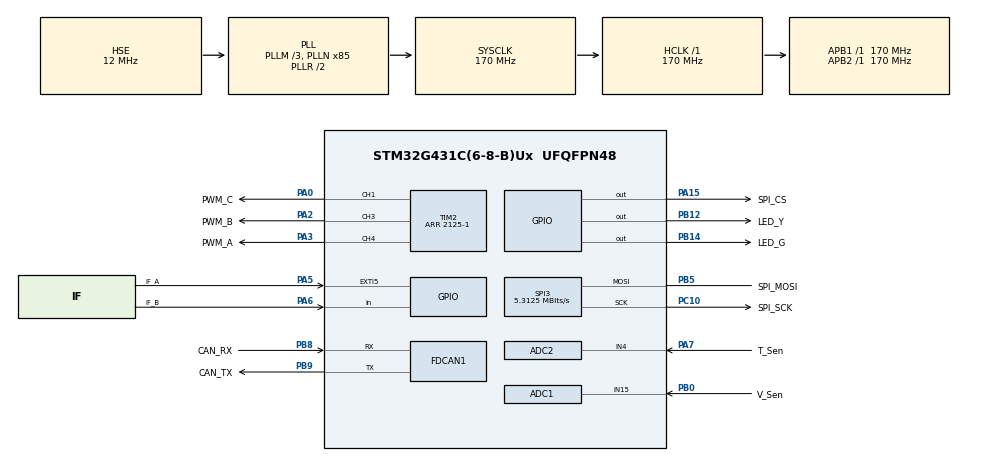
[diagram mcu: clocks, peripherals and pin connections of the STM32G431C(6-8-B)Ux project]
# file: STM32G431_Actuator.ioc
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ADC1.Channel-3\#ChannelRegularConversion=ADC_CHANNEL_15
ADC1.EOCSelection=ADC_EOC_SEQ_CONV
ADC1.Mode=ADC_DUALMODE_REGSIMULT
ADC1.NbrOfConversionFlag=1
ADC1.master=1
ADC2.Channel-5\#ChannelRegularConversion=ADC_CHANNEL_4
ADC2.Mode=ADC_DUALMODE_REGSIMULT
ADC2.NbrOfConversionFlag=1
ADC2.OffsetNumber-5\#ChannelRegularConversion=ADC_OFFSET_NONE
ADC2.Rank-5\#ChannelRegularConversion=1
ADC2.SamplingTime-5\#ChannelRegularConversion=ADC_SAMPLETIME_2CYCLES_5
Mcu.Family=STM32G4
Mcu.Name=STM32G431C(6-8-B)Ux
Mcu.Package=UFQFPN48
NVIC.EXTI9_5_IRQn=true\:0\:0\:true\:false\:true\:true\:true
NVIC.FDCAN1_IT0_IRQn=true\:3\:0\:true\:false\:true\:true\:true
NVIC.PriorityGroup=NVIC_PRIORITYGROUP_4
NVIC.TIM3_IRQn=true\:0\:0\:false\:false\:true\:true\:true
PA0.GPIO_Label=PWM_C
PA0.Signal=S_TIM2_CH1
PA13.Mode=Trace_Asynchronous_SW
PA13.Signal=SYS_JTMS-SWDIO
PA14.Mode=Trace_Asynchronous_SW
PA14.Signal=SYS_JTCK-SWCLK
PA15.GPIO_Label=SPI_CS
PA15.GPIO_PuPd=GPIO_NOPULL
PA15.GPIO_Speed=GPIO_SPEED_FREQ_HIGH
PA15.Signal=GPIO_Output
PA2.GPIO_Label=PWM_B
PA2.Signal=S_TIM2_CH3
PA3.GPIO_Label=PWM_A
PA3.Signal=S_TIM2_CH4
PA5.GPIO_Label=IF_A
PA5.Signal=GPXTI5
PA6.GPIO_Label=IF_B
PA6.Signal=GPIO_Input
PA7.GPIO_Label=T_Sen
PA7.Mode=IN4-Single-Ended
PA7.Signal=ADC2_IN4
PB0.GPIO_Label=V_Sen
PB0.GPIO_Mode=GPIO_MODE_ANALOG
PB0.GPIO_PuPd=GPIO_NOPULL
PB0.Mode=IN15-Single-Ended
PB0.Signal=ADC1_IN15
PB1.GPIO_Label=SO_A
PB1.Signal=ADC1_IN12
PB12.GPIO_Label=LED_Y
PB12.Signal=GPIO_Output
PB14.GPIO_Label=LED_G
PB14.Signal=GPIO_Output
PB2.GPIO_Label=SO_B
PB2.Signal=ADC2_IN12
PB3.Mode=Trace_Asynchronous_SW
PB3.Signal=SYS_JTDO-SWO
PB5.GPIO_Label=SPI_MOSI
PB5.Mode=Simplex_Bidirectional_Master
PB5.Signal=SPI3_MOSI
PB8-BOOT0.GPIO_Label=CAN_RX
PB8-BOOT0.Mode=FDCAN_Activate
PB8-BOOT0.Signal=FDCAN1_RX
PB9.GPIO_Label=CAN_TX
PB9.Mode=FDCAN_Activate
PB9.Signal=FDCAN1_TX
PC10.GPIO_Label=SPI_SCK
PC10.Mode=Simplex_Bidirectional_Master
PC10.Signal=SPI3_SCK
PF0-OSC_IN.GPIO_Label=XTAL_1
PF0-OSC_IN.Mode=HSE-External-Oscillator
PF0-OSC_IN.Signal=RCC_OSC_IN
PF1-OSC_OUT.GPIO_Label=XTAL_2
PF1-OSC_OUT.Mode=HSE-External-Oscillator
PF1-OSC_OUT.Signal=RCC_OSC_OUT
ProjectManager.HeapSize=0x200
ProjectManager.StackSize=0x400
ProjectManager.TargetToolchain=STM32CubeIDE
RCC.ADC12Freq_Value=170000000
RCC.AHBFreq_Value=170000000
RCC.APB1Freq_Value=170000000
RCC.APB1TimFreq_Value=170000000
RCC.APB2Freq_Value=170000000
RCC.APB2TimFreq_Value=170000000
RCC.CortexFreq_Value=170000000
RCC.EXTERNAL_CLOCK_VALUE=12288000
RCC.HCLKFreq_Value=170000000
RCC.HSE_VALUE=12000000
RCC.HSI48_VALUE=48000000
RCC.HSI_VALUE=16000000
RCC.LSE_VALUE=32768
RCC.PLLM=RCC_PLLM_DIV3
RCC.PLLN=85
RCC.PLLSourceVirtual=RCC_PLLSOURCE_HSE
RCC.SYSCLKFreq_VALUE=170000000
RCC.SYSCLKSource=RCC_SYSCLKSOURCE_PLLCLK
RCC.USBFreq_Value=170000000
RCC.VCOOutputFreq_Value=340000000
SH.S_TIM2_CH1.0=TIM2_CH1,PWM Generation1 CH1
SH.S_TIM2_CH3.0=TIM2_CH3,PWM Generation3 CH3
SH.S_TIM2_CH4.0=TIM2_CH4,PWM Generation4 CH4
SPI3.BaudRatePrescaler=SPI_BAUDRATEPRESCALER_32
SPI3.CLKPhase=SPI_PHASE_2EDGE
SPI3.CalculateBaudRate=5.3125 MBits/s
SPI3.DataSize=SPI_DATASIZE_8BIT
SPI3.Direction=SPI_DIRECTION_1LINE
SPI3.Mode=SPI_MODE_MASTER
SPI3.VirtualType=VM_MASTER
TIM2.AutoReloadPreload=TIM_AUTORELOAD_PRELOAD_ENABLE
TIM2.Channel-PWM\ Generation1\ CH1=TIM_CHANNEL_1
TIM2.Channel-PWM\ Generation3\ CH3=TIM_CHANNEL_3
TIM2.Channel-PWM\ Generation4\ CH4=TIM_CHANNEL_4
TIM2.CounterMode=TIM_COUNTERMODE_CENTERALIGNED1
TIM2.OCMode_PWM-PWM\ Generation1\ CH1=TIM_OCMODE_PWM2
TIM2.OCMode_PWM-PWM\ Generation3\ CH3=TIM_OCMODE_PWM2
TIM2.OCMode_PWM-PWM\ Generation4\ CH4=TIM_OCMODE_PWM2
TIM2.OCPolarity_1=TIM_OCPOLARITY_HIGH
TIM2.OCPolarity_3=TIM_OCPOLARITY_HIGH
TIM2.OCPolarity_4=TIM_OCPOLARITY_HIGH
TIM2.PeriodNoDither=2125-1
TIM2.TIM_MasterOutputTrigger=TIM_TRGO_ENABLE
TIM2.TIM_MasterSlaveMode=TIM_MASTERSLAVEMODE_ENABLE
TIM3.PeriodNoDither=16991
VP_SYS_VS_DBSignals.Mode=DisableDeadBatterySignals
VP_TIM2_VS_ClockSourceINT.Mode=Internal
VP_TIM3_VS_ClockSourceINT.Mode=Internal
board=custom

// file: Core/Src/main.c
/* USER CODE BEGIN Header */
/**
  ******************************************************************************
  * @file           : main.c
  * @brief          : Main program body
  ******************************************************************************
  * @attention
  *
  * Copyright (c) 2022 STMicroelectronics.
  * All rights reserved.
  *
  * This software is licensed under terms that can be found in the LICENSE file
  * in the root directory of this software component.
  * If no LICENSE file comes with this software, it is provided AS-IS.
  *
  ******************************************************************************
  */
/* USER CODE END Header */
#include "main.h"
#include "adc.h"
#include "fdcan.h"
#include "spi.h"
#include "tim.h"
#include "gpio.h"

/* USER CODE BEGIN Includes */
#include "stdio.h"
#include <stdint.h>
#include <math.h>
#include "sin_lookup.h"
#include "stm32g4xx_it.h"
/* USER CODE END Includes */

/* USER CODE BEGIN PD */

// Code
#define REV 1		// code revision
#define PRINT 1		// want prints?

// Phase Mappings
#define Phase_A_Ch TIM_CHANNEL_4
#define Phase_B_Ch TIM_CHANNEL_3
#define Phase_C_Ch TIM_CHANNEL_1

// CAN ID (actuator)
#define CAN_TX_ID 2		// Transmits as this ID
#define CAN_RX_ID 1		// Receives messages from this ID

// Res Div.:	V_o = V_in * R_Bot / (R_Top + B_Bot)
#define R_Top 255.0f		// R divider - top resistor			/ KOhms
#define R_Bot 10.0f			// R divider - bottom resistor		/ KOhms

// LM60: V_o = (6.25mV * T/C) + 424mV
#define T_Slope  0.00625f	// T sensor  - slope	/V
#define T_Offset 0.424f		// T sensor  - offset	/v

// Op Amp
#define R_Shunt   0.001f    // Shunt resistor /ohms
#define OP_Gain   40.0f		// Opamp gain
#define OP_Offset 40.0f		// Opamp offset

// Macros
#define BYTE_TO_BINARY(byte)  \
  (byte & 0x80 ? '1' : '0'), \
  (byte & 0x40 ? '1' : '0'), \
  (byte & 0x20 ? '1' : '0'), \
  (byte & 0x10 ? '1' : '0'), \
  (byte & 0x08 ? '1' : '0'), \
  (byte & 0x04 ? '1' : '0'), \
  (byte & 0x02 ? '1' : '0'), \
  (byte & 0x01 ? '1' : '0')

/* USER CODE END PD */

/* USER CODE BEGIN PV */

// Encoder
typedef struct
{
	float SPI_theta;			// IIF from SPI 0-360deg used to zero

	int16_t  IIF_Counter;		// The counter variable that is interrupt driven so dont use it in calculations
	int64_t  IIF_Revolutions;	// Number of full revolutions taken
	uint16_t IIF_Raw;			// Current angle 0-4095
} ENC_Struct;
// ADC
typedef struct
{
	uint16_t ADC1_DMA_Buff[2];		// DMA buffer for ADC 1
	uint16_t ADC2_DMA_Buff[2];		// DMA buffer for ADC 2

	float V_Bus;	// V bus
	float Temp_C;	// Temp in C

	uint16_t i_a_Raw, i_b_Raw, V_Raw, T_Raw;	// Raw ADC readings
	uint16_t i_a_Fil, i_b_Fil, V_Fil, T_Fil;	// Filtered ADC readings
} ADC_Struct;
// FOC
typedef struct
{
	// Proprties
	int Pole_Pairs;				// number of pole pairs
	float dt;					// delta T of FOC response		/seconds

	// Angles
	float m_theta, m_dtheta;	// mechanical theta and dtheta	/deg		/degs-1
	float e_theta, e_dtheta;	// electrical theta and dtheta	/deg		/degs-1

	// FOC currents
	float i_a, i_b, i_c;		// Phase currents				/amps
	float i_alph, i_beta;		// Alpha/Beta currents			/amps
	float i_d, i_q;				// Direct/Quadrature currents	/amps

	// Current target
	float DC_I;					// 0 to 1 of the duty cycle controlling current

	// FOC sector control
	float alpha;				// Angle from start of sector to current position
	int sector;					// which sector currently in

	// Duty cycles
	float DC_1, DC_2, DC_0;		// Duty cycle of vector start, end and unforced

	uint16_t PWM_Reg_Max;		// PWM register max
	float PWM_A, PWM_C, PWM_B;	// Duty cycle
} FOC_Struct;
// Filter
typedef struct
{
	// Butterworth from: https://www.meme.net.au/butterworth.html
	// At 6.667KHz smapling
	// y(i) = k1*x(i) + k1*x(i-1) + k2*y(i-1)

	// Filters i_a, i_b, PVDD, Temp, IIF count, IIF vel

	float i_k[2];		// Filter coefficients for current filters
	float Misc_k[2];	// Filter coefficients for misc filter

	int16_t i_a_Pre, i_a_Pre_Fil, i_b_Pre, i_b_Pre_Fil;			// Previous values for current
	int16_t PVDD_Pre, PVDD_Pre_Fil, Temp_Pre, Temp_Pre_Fil;		// Previous values for PVDD and temp
} FIL_Struct;
// CAN
typedef struct
{
	uint32_t timeout;		// timeout/ms

	FDCAN_RxHeaderTypeDef rx_header;
	uint8_t rx_data[6];

	FDCAN_TxHeaderTypeDef tx_header;
	uint8_t tx_data[6];

	FDCAN_FilterTypeDef filter;
} CAN_Struct;
// Controller
typedef struct
{
	float Torque;
	float Velocity;
} CON_Struct;

ENC_Struct enc;
ADC_Struct adc;
FOC_Struct foc;
FIL_Struct fil;
CAN_Struct can;
CON_Struct con;

/* USER CODE END PV */

void SystemClock_Config(void);

/* USER CODE BEGIN 0 */

// For SWD debug port 0 printf()
int _write(int file, char *ptr, int len)
{
	int i=0;
	for(i=0; i<len; i++)
		ITM_SendChar((*ptr++));
	return len;
}

/* USER CODE END 0 */

int main(void)
{

  /* MCU Configuration--------------------------------------------------------*/

  /* Reset of all peripherals, Initializes the Flash interface and the Systick. */
  HAL_Init();

  /* Configure the system clock */
  SystemClock_Config();

  /* Initialize all configured peripherals */
  MX_GPIO_Init();
  MX_ADC1_Init();
  MX_FDCAN1_Init();
  MX_TIM2_Init();
  MX_SPI3_Init();
  MX_TIM3_Init();
  MX_ADC2_Init();
  /* USER CODE BEGIN 2 */
  printf("\nActuator Firmware Version: %i\n",REV);

  /* Start ADCs */
  printf("Start ADC... ");
  HAL_ADCEx_Calibration_Start(&hadc1,LL_ADC_SINGLE_ENDED);
  HAL_ADCEx_Calibration_Start(&hadc2,LL_ADC_SINGLE_ENDED);

  HAL_ADC_Start(&hadc1);
  HAL_ADC_Start(&hadc2);
//  HAL_ADC_Start_DMA(&hadc1, (uint32_t*)adc.ADC1_DMA_Buff, 2);
//  HAL_ADC_Start_DMA(&hadc2, (uint32_t*)adc.ADC2_DMA_Buff, 2);

  printf("Good\n");

  /* Start Timers */
  printf("Start TIM... ");
  HAL_TIM_Base_Start(&htim2);
  while(__HAL_TIM_GET_COUNTER(&htim2)<858+20){}	// wait for cycles to sync up clocks
  	  	  	  	  	  	  	  	  	  	  	  	// 858 cycles for middle
  	  	  	  	  	  	  	  	  	  	  	    // each cycle delays by around 7.5ns
  HAL_TIM_Base_Start_IT(&htim3);
  HAL_TIM_PWM_Start(&htim2, Phase_A_Ch);
  HAL_TIM_PWM_Start(&htim2, Phase_B_Ch);
  HAL_TIM_PWM_Start(&htim2, Phase_C_Ch);
  Set_PWM3(0,0,0);							// Set PWM channels to same value
  printf("Good\n");

  /* Start Encoder */
  printf("Start ENC... ");
  HAL_GPIO_WritePin(SPI_CS_GPIO_Port, SPI_CS_Pin, 1);

  // command is
  // 15 	- 0 write/1 read
  // 14-11	- lock				0000 default	1010 for 0x05h-0x11h
  // 10		- 0 access to current values/1 access all in buffer
  // 9-4	- 6 bit address
  // 3-0	- 4 bit number of data words	if 0000, no safety word

  // 		command1, 	command2,   data1,	    data2,      mask1,      mask2
  printf("\n");
//  ENC_Write(0b11010000, 0b01100001, 0b01000000, 0b00000001, 0b11000000, 0b00010111);		// write MOD_1	06 register		A/B
  ENC_Write(0b11010000, 0b01100001, 0b01000000, 0b00000010, 0b11000000, 0b00010111);		// write MOD_1	06 register		step/dir
  ENC_Write(0b11010000, 0b10000001, 0b00001000, 0b00000001, 0b01111111, 0b11111111);		// write MOD_2	08 register
  ENC_Write(0b11010000, 0b10010001, 0b00000000, 0b00000000, 0b11111111, 0b11111111);		// write MOD_3  09 register
  ENC_Write(0b11010000, 0b11010001, 0b00000000, 0b00001001, 0b11111111, 0b11111111);		// write IFAB	0D register	(13)
  ENC_Write(0b11010000, 0b11100001, 0b00000000, 0b10000000, 0b00000001, 0b11111011);		// write MOD_4	0E register (14)

  ENC_Read_Ang(&enc.SPI_theta);
  enc.IIF_Counter = (int)(enc.SPI_theta /360.0f * 4095.0f);	// Zero encoder

  /* Start CAN */
  printf("Start CAN... ");
  // can code
  printf("Good\n");

  /* Setup FOC structure*/
  foc.Pole_Pairs = 21.0f;
  foc.dt = (float)(2.0f/(170.0f*1000000.0f/(htim2.Init.Period+1)/(htim2.Init.RepetitionCounter+1)));
  foc.PWM_Reg_Max = htim2.Init.Period;

  /* Setup Filter structure */
  fil.i_k[0]    = 0.421f;	fil.i_k[1]    = 0.158f;
  fil.Misc_k[0] = 0.421f;	fil.Misc_k[1] = 0.158f;

  printf("\nSetup complete!\n\n");

  /* USER CODE END 2 */

  /* Infinite loop */
  /* USER CODE BEGIN WHILE */
  while (1)
  {
	  HAL_GPIO_WritePin(LED_G_GPIO_Port, LED_G_Pin, 1);

	  HAL_ADC_Start(&hadc1);
	  HAL_ADC_Start(&hadc2);

	  HAL_ADC_PollForConversion(&hadc1, 1);

	  adc.V_Raw = HAL_ADC_GetValue(&hadc1);
	  adc.T_Raw = HAL_ADC_GetValue(&hadc2);

	  ADC_Norm_Misc(adc.V_Raw, adc.T_Raw, &adc.V_Bus, &adc.Temp_C);

	  printf("ADC1: %i\tADC2: %i\n", adc.V_Raw, adc.T_Raw);

	  HAL_Delay(200);
	  HAL_GPIO_WritePin(LED_G_GPIO_Port, LED_G_Pin, 0);
	  HAL_Delay(800);

    /* USER CODE END WHILE */

  }
}

void SystemClock_Config(void)
{
  RCC_OscInitTypeDef RCC_OscInitStruct = {0};
  RCC_ClkInitTypeDef RCC_ClkInitStruct = {0};

  /** Configure the main internal regulator output voltage
  */
  HAL_PWREx_ControlVoltageScaling(PWR_REGULATOR_VOLTAGE_SCALE1_BOOST);
  /** Initializes the RCC Oscillators according to the specified parameters
  * in the RCC_OscInitTypeDef structure.
  */
  RCC_OscInitStruct.OscillatorType = RCC_OSCILLATORTYPE_HSE;
  RCC_OscInitStruct.HSEState = RCC_HSE_ON;
  RCC_OscInitStruct.PLL.PLLState = RCC_PLL_ON;
  RCC_OscInitStruct.PLL.PLLSource = RCC_PLLSOURCE_HSE;
  RCC_OscInitStruct.PLL.PLLM = RCC_PLLM_DIV3;
  RCC_OscInitStruct.PLL.PLLN = 85;
  RCC_OscInitStruct.PLL.PLLP = RCC_PLLP_DIV2;
  RCC_OscInitStruct.PLL.PLLQ = RCC_PLLQ_DIV2;
  RCC_OscInitStruct.PLL.PLLR = RCC_PLLR_DIV2;
  if (HAL_RCC_OscConfig(&RCC_OscInitStruct) != HAL_OK)
  {
    Error_Handler();
  }
  /** Initializes the CPU, AHB and APB buses clocks
  */
  RCC_ClkInitStruct.ClockType = RCC_CLOCKTYPE_HCLK|RCC_CLOCKTYPE_SYSCLK
                              |RCC_CLOCKTYPE_PCLK1|RCC_CLOCKTYPE_PCLK2;
  RCC_ClkInitStruct.SYSCLKSource = RCC_SYSCLKSOURCE_PLLCLK;
  RCC_ClkInitStruct.AHBCLKDivider = RCC_SYSCLK_DIV1;
  RCC_ClkInitStruct.APB1CLKDivider = RCC_HCLK_DIV1;
  RCC_ClkInitStruct.APB2CLKDivider = RCC_HCLK_DIV1;

  if (HAL_RCC_ClockConfig(&RCC_ClkInitStruct, FLASH_LATENCY_4) != HAL_OK)
  {
    Error_Handler();
  }
}

/* USER CODE BEGIN 4 */

// Read ADCs
void  ADC_Get_Raw    (int16_t*i_a_Raw, int16_t*i_b_Raw, int16_t*PVDD_Raw, int16_t*Temp_Raw)
{
//	HAL_ADC_Start_DMA(&hadc1, (uint32_t*)adc.ADC1_DMA_Buff, 2);
//	HAL_ADC_Start_DMA(&hadc2, (uint32_t*)adc.ADC2_DMA_Buff, 2);
//
////	while(adc.ADC1_CC==0 || adc.ADC2_CC==0){}	// wait for conversion to complete
//	adc.ADC1_CC=0;									// reset flags
//	adc.ADC2_CC=0;
//
//	*i_a_Raw	= adc.ADC1_DMA_Buff[0];
//	*i_b_Raw	= adc.ADC2_DMA_Buff[0];
//	*PVDD_Raw	= adc.ADC1_DMA_Buff[1];
//	*Temp_Raw	= adc.ADC2_DMA_Buff[1];
}
void  ADC_Filter_Curr(int16_t i_a_Raw, int16_t i_b_Raw, int16_t*i_a_Fil, int16_t*i_b_Fil)
{
	// Filter
	*i_a_Fil = fil.i_k[0]*i_a_Raw + fil.i_k[0]*fil.i_a_Pre + fil.i_k[1]*fil.i_a_Pre_Fil;
	*i_b_Fil = fil.i_k[0]*i_b_Raw + fil.i_k[0]*fil.i_b_Pre + fil.i_k[1]*fil.i_b_Pre_Fil;

	// Now store current values as previous values
	fil.i_a_Pre = i_a_Raw;
	fil.i_b_Pre = i_b_Raw;

	fil.i_a_Pre_Fil = *i_a_Fil;
	fil.i_b_Pre_Fil = *i_b_Fil;
}
void  ADC_Norm_Curr  (int16_t i_a_Fil, int16_t i_b_Fil, float*i_a, float*i_b)
{
	*i_a = (((float)(i_a_Fil-OP_Offset))*3.3f/4095.0f)/OP_Gain/R_Shunt;
	*i_b = (((float)(i_b_Fil-OP_Offset))*3.3f/4095.0f)/OP_Gain/R_Shunt;
}
void  ADC_Filter_Misc(uint16_t PVDD_Raw, uint16_t Temp_Raw, uint16_t*PVDD_Fil, uint16_t*Temp_Fil)
{
	// Filter
	*PVDD_Fil = fil.Misc_k[0]*PVDD_Raw + fil.Misc_k[0]*fil.PVDD_Pre + fil.Misc_k[1]*fil.PVDD_Pre_Fil;
	*Temp_Fil = fil.Misc_k[0]*Temp_Raw + fil.Misc_k[0]*fil.Temp_Pre + fil.Misc_k[1]*fil.Temp_Pre_Fil;

	// Now store current values as previous values
	fil.PVDD_Pre = PVDD_Raw;
	fil.Temp_Pre = Temp_Raw;

	fil.PVDD_Pre_Fil = *PVDD_Fil;
	fil.Temp_Pre_Fil = *Temp_Fil;
}
void  ADC_Norm_Misc  (uint16_t PVDD_Fil, uint16_t Temp_Fil, float*PVDD, float*Temp)
{
	*PVDD = (float)PVDD_Fil*3.3f/4095.0f / R_Bot * (R_Bot + R_Top);
	*Temp = (((float)Temp_Fil*3.3f/4095.0f)-T_Offset)/T_Slope;
}
// Encoder
void  ENC_Read_Ang(float*Angle)
{
	uint8_t ENC_ASK_POS   [2] = {0b10000000,0b00100001};	// Command for asking position
	uint8_t SPI_BUFF[2] = {0,0};

	HAL_GPIO_WritePin(SPI_CS_GPIO_Port, SPI_CS_Pin, 0);
	HAL_SPI_Transmit(&hspi3, (uint8_t*)&ENC_ASK_POS, 2, 10);	// Ask for data
	HAL_SPI_Receive (&hspi3, (uint8_t*)SPI_BUFF    , 2, 10);	// Receive 4 bytes of data
	HAL_GPIO_WritePin(SPI_CS_GPIO_Port, SPI_CS_Pin, 1);

	int16_t SPI_ANG = (SPI_BUFF[0] << 8 | SPI_BUFF[1]);			// make 16 bit
	int16_t ANG_VAL = (0b0011111111111111 & SPI_ANG);					// keep last 14 bits
	ANG_VAL -= (((SPI_ANG)&(1UL<<(14)))>>(14))*(-16384);
	*Angle = 360.0f/32768.0f * ANG_VAL;
}
void  ENC_Read_Vel(float*Velocity)
{
	uint8_t ENC_ASK_VEL   [2] = {0b10000000,0b00110000};	// Command for asking velocity
	uint8_t SPI_BUFF[2] = {0,0};

	HAL_GPIO_WritePin(SPI_CS_GPIO_Port, SPI_CS_Pin, 0);
	HAL_SPI_Transmit(&hspi3, (uint8_t*)&ENC_ASK_VEL, 2, 10);	// Ask for data
	HAL_SPI_Receive (&hspi3, (uint8_t*)SPI_BUFF    , 2, 10);	// Receive 2 bytes of data
	HAL_GPIO_WritePin(SPI_CS_GPIO_Port, SPI_CS_Pin, 1);

	int16_t SPI_VEL = (SPI_BUFF[0] << 8 | SPI_BUFF[1]);			// make 16 bit
	int16_t VEL_VAL = (0b0011111111111111 & SPI_VEL);			// keep last 14 bits
	*Velocity = 360.0f/32768.0f * VEL_VAL / 2.0f / 0.0000427f;
}
void  ENC_Write(uint8_t com1, uint8_t com2, uint8_t data1, uint8_t data2, uint8_t mask1, uint8_t mask2)
{
	uint8_t ADDR = (com2>>4)&0b00001111;
	printf("\tRegister 0x%02X... ",ADDR);

	// read
	uint8_t ENC_R_COM [2] = {com1|0b1000000,								// make into read command
							 com2};
	uint8_t SPI_BUFF[2] = {0,0};

//	printf("\n");
//	printf("\t\tTX: %c%c%c%c %c%c%c%c   %c%c%c%c %c%c%c%c\n", BYTE_TO_BINARY(ENC_R_COM[0]), BYTE_TO_BINARY(ENC_R_COM[1]));
	HAL_GPIO_WritePin(SPI_CS_GPIO_Port, SPI_CS_Pin, 0);
	HAL_SPI_Transmit(&hspi3, (uint8_t*)&ENC_R_COM, 2, 10);		// Read current register
	HAL_SPI_Receive (&hspi3, (uint8_t*)SPI_BUFF, 2, 10);
	HAL_GPIO_WritePin(SPI_CS_GPIO_Port, SPI_CS_Pin, 1);
//	printf("\t\tRead  : %c%c%c%c %c%c%c%c   %c%c%c%c %c%c%c%c\n", BYTE_TO_BINARY(SPI_BUFF[0]), BYTE_TO_BINARY(SPI_BUFF[1]));

	// write
	uint8_t ENC_W_EOM [4] = {com1&0b01111111,								// make into write command
						     com2,											// same
							 (SPI_BUFF[0] & (~mask1)) | (data1 & mask1),	// keep read when mask=0, keep data when mask=1
							 (SPI_BUFF[1] & (~mask2)) | (data2 & mask2)};	// keep read when mask=0, keep data when mask=1

//	printf("\t\tTX    : %c%c%c%c %c%c%c%c   %c%c%c%c %c%c%c%c   %c%c%c%c %c%c%c%c   %c%c%c%c %c%c%c%c\n", BYTE_TO_BINARY(ENC_W_EOM[0]), BYTE_TO_BINARY(ENC_W_EOM[1]), BYTE_TO_BINARY(ENC_W_EOM[2]), BYTE_TO_BINARY(ENC_W_EOM[3]));
	HAL_GPIO_WritePin(SPI_CS_GPIO_Port, SPI_CS_Pin, 0);
	HAL_SPI_Transmit(&hspi3, (uint8_t*)&ENC_W_EOM, 4, 10);		// Write to register
	HAL_SPI_Receive (&hspi3, (uint8_t*)SPI_BUFF, 2, 10);
	HAL_GPIO_WritePin(SPI_CS_GPIO_Port, SPI_CS_Pin, 1);
//	printf("\t\tS Word: %c%c%c%c %c%c%c%c   %c%c%c%c %c%c%c%c\n", BYTE_TO_BINARY(SPI_BUFF[0]), BYTE_TO_BINARY(SPI_BUFF[1]));

//	// check safety word
//	uint16_t SAFE_WORD = (SPI_BUFF[0] << 8 | SPI_BUFF[1]);		// form 16bit safety word
//
//	uint8_t ERR_1 = (SAFE_WORD >> 15)&1U;		// only care about first bit
//	uint8_t ERR_2 = (SAFE_WORD >> 14)&1U;		// shift left one then make it first
//	uint8_t ERR_3 = (SAFE_WORD >> 13)&1U;		// shift left 2 ...
//	uint8_t ERR_4 = (SAFE_WORD >> 12)&1U;		// ...
//
//	if(ERR_1==0 || ERR_2==0 || ERR_3==0 || ERR_4==0)
//	{
//		if(ERR_1==0){printf("\t\t\tErr 1: Reset/watchdog overflow!\n");}
//		if(ERR_2==0){printf("\t\t\tErr 2: System error!\n");}
//		if(ERR_3==0){printf("\t\t\tErr 3: Interface access error!\n");}
//		if(ERR_4==0){printf("\t\t\tErr 4: Invalid angle value!\n");}
//		Error_Handler();
//	}

	// check if written
	HAL_GPIO_WritePin(SPI_CS_GPIO_Port, SPI_CS_Pin, 0);
	HAL_SPI_Transmit(&hspi3, (uint8_t*)&ENC_R_COM, 2, 10);		// Read current register
	HAL_SPI_Receive (&hspi3, (uint8_t*)SPI_BUFF, 2, 10);
	HAL_GPIO_WritePin(SPI_CS_GPIO_Port, SPI_CS_Pin, 1);
//	printf("\t\tNew   : %c%c%c%c %c%c%c%c   %c%c%c%c %c%c%c%c\n", BYTE_TO_BINARY(SPI_BUFF[0]), BYTE_TO_BINARY(SPI_BUFF[1]));

	if(((data1&mask1) != (SPI_BUFF[0]&mask1)) || (data2&mask2) != (SPI_BUFF[1]&mask2))
	{
		printf("Error Writing\n");
		Error_Handler();
	}

	printf("Good\n");
}
void  ENC_Interrupt(GPIO_TypeDef *GPIOx, uint16_t GPIO_Pin)
{
	if(HAL_GPIO_ReadPin(GPIOx, GPIO_Pin))
		enc.IIF_Counter++;		// If high, increment
	else
		enc.IIF_Counter--;		// If low , decrement

	if(enc.IIF_Counter>=4096)	// If overflow
		enc.IIF_Counter = 0;		// Set to 0

	if(enc.IIF_Counter<0)		// If underflow
		enc.IIF_Counter = 4095;		// Set to 4095
}
// FOC stuff
void  Set_PWM3(float DC_1, float DC_2, float DC_3)
{
	__HAL_TIM_SET_COMPARE(&htim2,Phase_A_Ch,foc.PWM_Reg_Max*DC_1);	// Set PWM channels
	__HAL_TIM_SET_COMPARE(&htim2,Phase_B_Ch,foc.PWM_Reg_Max*DC_2);
	__HAL_TIM_SET_COMPARE(&htim2,Phase_C_Ch,foc.PWM_Reg_Max*DC_3);
}
float _sin(float theta)
{
	return sin_lookup[(int)floor(theta)];
}
float _cos(float theta)
{
	return sin_lookup[(int)floor(fmodf(theta+270.0f,360.0f))];
}
// Timer Interrupts
void  FOC_Interrupt(void)
{
	/* LED on */
	HAL_GPIO_WritePin(LED_Y_GPIO_Port, LED_Y_Pin, 1);

//	/* FOC sample */
//	enc.IIF_Raw = enc.IIF_Counter;											// Copy current encoder angle
//	ADC_Get_Raw(&adc.i_a_Raw,&adc.i_b_Raw, &adc.PVDD_Raw, &adc.Temp_Raw);	// Read raw ADC
//
//	/* Filter and normalise readings */
//	ADC_Filter_Curr(adc.i_a_Raw,adc.i_b_Raw,&adc.i_a_Fil,&adc.i_b_Fil);		// Filter raw ADC currents
//	ADC_Norm_Curr  (adc.i_a_Fil,adc.i_b_Fil,&foc.i_a,&foc.i_b);				// Normalise currents
//	foc.m_theta = (float)enc.IIF_Raw / 4095.0f * 360.0f;					// Normalise angle to 0-360deg
//
//	/* FOC maths */
//	// Get electrical angles correct
//	foc.e_theta = fmodf(foc.m_theta*foc.Pole_Pairs,360.0f);	// get electrical angle and constrain in 360 deg
//
//	// Clarke -> alpha/beta
//	foc.i_alph = foc.i_a;
//	foc.i_beta = SQRT1_3 * (2.0f*foc.i_b - foc.i_a);
//
//	// Park -> direct/quadrature
//	float sin_Ang = _sin(foc.e_theta);
//	float cos_Ang = _cos(foc.e_theta);
//	foc.i_d = cos_Ang*foc.i_alph + sin_Ang*foc.i_beta;
//	foc.i_q = cos_Ang*foc.i_beta - sin_Ang*foc.i_alph;
//
//	/* Regulate currents */
//	foc.DC_I = 0.5f;				// Current duty cycle
//
//	/* Set PWM Compare values */
//	foc.alpha = fmodf(foc.e_theta,60.0f);	// calculate alpha
//
//	foc.DC_1 = foc.DC_I*_sin(60.0f - foc.alpha);
//	foc.DC_2 = foc.DC_I*_sin(foc.alpha);
//	foc.DC_0 = 1.0f - foc.DC_1 - foc.DC_2;
//
//	foc.sector = (int)floor(foc.e_theta/60.0f);
//
//	switch (foc.sector)
//	{
//		case 0:
//			foc.PWM_A = 0.5*foc.DC_0;
//			foc.PWM_B = 0.5*foc.DC_0 + foc.DC_1;
//			foc.PWM_C = 0.5*foc.DC_0 + foc.DC_1 + foc.DC_2;
//			break;
//		case 1:
//			foc.PWM_A = 0.5*foc.DC_0 + foc.DC_2;
//			foc.PWM_B = 0.5*foc.DC_0;
//			foc.PWM_C = 0.5*foc.DC_0 + foc.DC_1 + foc.DC_2;
//			break;
//		case 2:
//			foc.PWM_A = 0.5*foc.DC_0 + foc.DC_1 + foc.DC_2;
//			foc.PWM_B = 0.5*foc.DC_0;
//			foc.PWM_C = 0.5*foc.DC_0 + foc.DC_1;
//			break;
//		case 3:
//			foc.PWM_A = 0.5*foc.DC_0 + foc.DC_1 + foc.DC_2;
//			foc.PWM_B = 0.5*foc.DC_0 + foc.DC_2;
//			foc.PWM_C = 0.5*foc.DC_0;
//			break;
//		case 4:
//			foc.PWM_A = 0.5*foc.DC_0 + foc.DC_1;
//			foc.PWM_B = 0.5*foc.DC_0 + foc.DC_1 + foc.DC_2;
//			foc.PWM_C = 0.5*foc.DC_0;
//			break;
//		case 5:
//			foc.PWM_A = 0.5*foc.DC_0;
//			foc.PWM_B = 0.5*foc.DC_0 + foc.DC_1 + foc.DC_2;
//			foc.PWM_C = 0.5*foc.DC_0 + foc.DC_2;
//			break;
//	}

	/* Set PWM */
//	Set_PWM3(1.0f-foc.PWM_A, 1.0f-foc.PWM_B, 1.0f-foc.PWM_C);
//	Set_PWM3(1.0f-0.066f, 1.0f-0.500f, 1.0f-0.933f);

	/* LED off */
	HAL_GPIO_WritePin(LED_Y_GPIO_Port, LED_Y_Pin, 0);
}
void  CAN_Interrupt(void)
{
//	// Get CAN message
//		// 4b  Unused
//		// 12b Position
//		// 16b Velocity
//		// 16b Torque
//	HAL_CAN_GetRxMessage(&hcan1, CAN_RX_FIFO0, &can.rx_header, can.rx_data);
//
//	// Create CAN response message
//		// 8b  temp
//		// 12b position
//		// 14b velocity
//		// 14b torque
//	uint32_t TxMailbox;
//	uint16_t temp_vel = 0b0011111111111111;
//	uint16_t temp_tor = 0b0011111111111111;
//
//	can.tx_data[0] = (uint8_t) (((float)adc.Temp_Fil*adc.VDDA/4095.0f)-adc.Temp_V_Offset)/adc.Temp_Slope;
//	can.tx_data[1] = (uint8_t) (enc.IIF_Raw>>4);
//	can.tx_data[2] = (uint8_t) ((enc.IIF_Raw<<4) | ((temp_vel>>10) & 0b00001111));
//	can.tx_data[3] = (uint8_t) (temp_vel>>2);
//	can.tx_data[4] = (uint8_t) ((temp_vel<<6) | ((temp_tor>>8) & 0b00001111));
//	can.tx_data[5] = (uint8_t) (temp_tor);
//
//	// Send CAN message
//	HAL_CAN_AddTxMessage(&hcan1, &can.tx_header, can.tx_data, &TxMailbox);
//
//	// if special commands, do function else unpack rx message
//	if((can.rx_data[0]==0xFF) & (can.rx_data[1]==0xFF) & (can.rx_data[2]==0xFF) & (can.rx_data[3]==0xFF) & (can.rx_data[4]==0xFF))
//	{
//		switch (can.rx_data[5])
//		{
//		case 0:
//			break;
//		case 1:
//			break;
//		}
//	}
//	else
//	{
//		// unpack and update target values
//	}
//
//	can.timeout = 0;	// reset timeout timer
}

/* USER CODE END 4 */

void Error_Handler(void)
{
  /* USER CODE BEGIN Error_Handler_Debug */
  /* User can add his own implementation to report the HAL error return state */
  __disable_irq();
  while (1)
  {
	  printf("Hardware Error\n");
	  HAL_GPIO_WritePin(LED_Y_GPIO_Port, LED_Y_Pin, 1);
	  HAL_Delay(200);
	  HAL_GPIO_WritePin(LED_Y_GPIO_Port, LED_Y_Pin, 0);
	  HAL_Delay(800);
  }
  /* USER CODE END Error_Handler_Debug */
}
